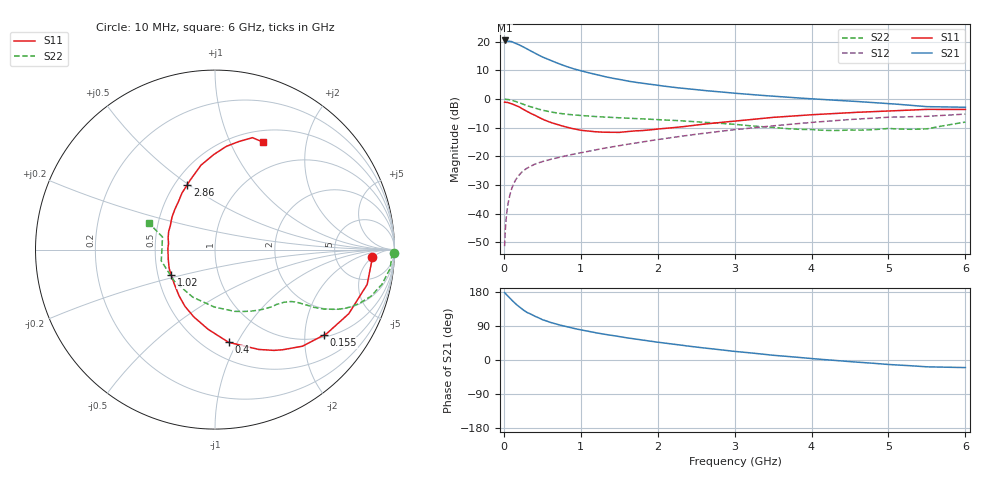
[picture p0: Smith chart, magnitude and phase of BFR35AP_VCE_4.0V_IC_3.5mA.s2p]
! Infineon Technologies  Discrete & RF Semiconductors
! BFR35AP
! VCE =  4.0 V,  IC =  3.5 mA
! Common Emitter S-Parameters:  Nov 2015
# GHz  S  MA  R  50
!  f  S11  S21  S12  S22
! GHz  MAG  ANG  MAG  ANG  MAG  ANG  MAG  ANG
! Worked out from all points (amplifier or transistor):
!   210 points, 10 MHz to 6 GHz, reference 50 ohm
!   highest |S21| = 20.4 dB at 10 MHz (marker M1)
!   |S21| within 3 dB of that: start of sweep to 304.1 MHz
!   unconditionally stable (mu >= 1): 938 MHz to 3.468 GHz
!   at 185 MHz: K = 0.30, MSG = 23.0 dB, |S12| = -27.0 dB
!   at 1.52 GHz: K = 1.13, MAG = 9.3 dB, |S12| = -16.2 dB
!   at 6 GHz: K = 0.96, MSG = 1.2 dB, |S12| = -5.3 dB
!   S11 on the Smith chart (normalised r, x): 10 MHz: 14, -5; 155 MHz: 1.06, -2.51; 400 MHz: 0.65, -0.92; 1.02 GHz: 0.59, -0.18; 2.86 GHz: 0.58, +0.49; 6 GHz: 0.64, +1.34
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0.01  0.8774 -2.6  10.48 177.9  0.0027 88.2  0.9952 -1.2
0.025  0.8723 -6.4  10.35 174.4  0.0067 87.0  0.9841 -3.1
0.04  0.8694 -10.3  10.3 171.3  0.0109 83.6  0.9826 -4.9
0.1  0.8265 -25.6  10.04 158.8  0.0267 75.8  0.9504 -11.7
0.155  0.7721 -38.0  9.312 147.7  0.039 69.6  0.9025 -17.0
0.2  0.7263 -47.8  8.775 140.2  0.0473 65.5  0.8606 -20.3
0.26  0.6504 -59.7  8.014 131.0  0.0568 60.9  0.8 -24.0
0.3  0.6076 -66.3  7.471 125.7  0.0618 59.0  0.7637 -25.8
0.4  0.522 -81.7  6.329 115.8  0.0726 54.9  0.6931 -28.6
0.5  0.4458 -94.9  5.412 106.5  0.0807 53.1  0.6373 -30.3
0.6  0.393 -107.5  4.746 99.6  0.0878 52.0  0.5955 -31.2
0.7  0.3577 -117.9  4.195 93.7  0.0944 52.1  0.5659 -32.0
0.8  0.3263 -127.8  3.737 88.4  0.1017 52.0  0.5434 -32.7
1.02  0.2822 -149.9  3.054 78.7  0.1169 52.6  0.5124 -34.4
1.4  0.2625 178.8  2.314 65.0  0.1447 53.7  0.4767 -38.6
1.7  0.2773 158.6  1.959 55.6  0.1692 53.7  0.4555 -42.8
2.02  0.3006 142.8  1.717 46.5  0.1974 52.7  0.436 -48.4
2.86  0.3934 113.1  1.311 26.0  0.2769 47.2  0.3715 -68.1
3.1  0.4228 107.4  1.228 20.9  0.3004 44.7  0.35 -75.7
4.1  0.5389 89.2  0.986 2.1  0.3985 33.5  0.2864 -120.2
5.1  0.624 76.3  0.812 -12.9  0.4826 19.4  0.3002 -173.0
6  0.6556 66.0  0.716 -20.0  0.5445 8.8  0.3951 158.2
